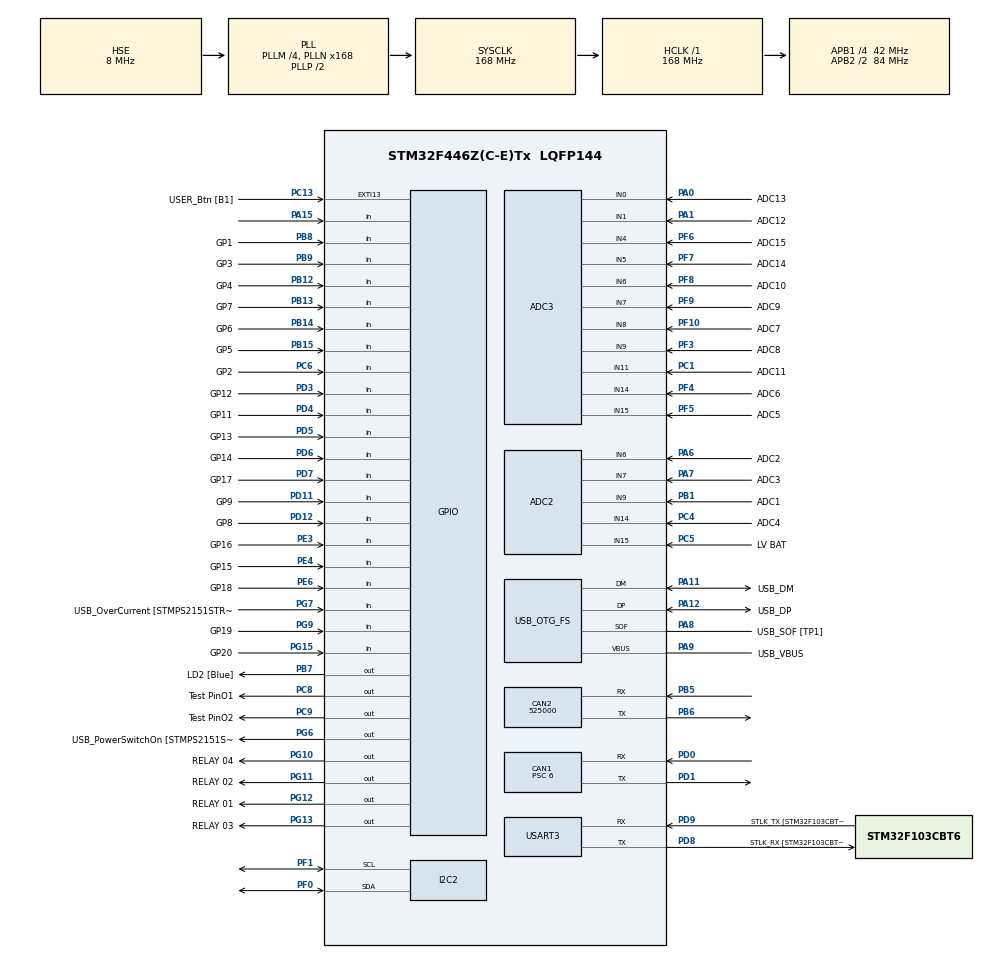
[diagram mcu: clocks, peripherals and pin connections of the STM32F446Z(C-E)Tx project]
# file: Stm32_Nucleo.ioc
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ADC2.Channel-0\#ChannelRegularConversion=ADC_CHANNEL_6
ADC2.NbrOfConversionFlag=1
ADC2.Rank-0\#ChannelRegularConversion=1
ADC2.SamplingTime-0\#ChannelRegularConversion=ADC_SAMPLETIME_3CYCLES
ADC3.Channel-0\#ChannelRegularConversion=ADC_CHANNEL_4
ADC3.NbrOfConversionFlag=1
CAN1.BS1=CAN_BS1_3TQ
CAN1.BS2=CAN_BS2_3TQ
CAN1.CalculateBaudRate=1000000
CAN1.CalculateTimeBit=1000
CAN1.CalculateTimeQuantum=142.85714285714286
CAN1.Prescaler=6
CAN2.BS1=CAN_BS1_2TQ
CAN2.BS2=CAN_BS2_2TQ
CAN2.CalculateBaudRate=525000
CAN2.CalculateTimeBit=1904
CAN2.CalculateTimeQuantum=380.95238095238096
Mcu.Family=STM32F4
Mcu.Name=STM32F446Z(C-E)Tx
Mcu.Package=LQFP144
NVIC.CAN1_RX0_IRQn=true\:0\:0\:false\:false\:true\:true\:true\:true
NVIC.PriorityGroup=NVIC_PRIORITYGROUP_4
PA0-WKUP.GPIO_Label=ADC13
PA0-WKUP.Signal=ADCx_IN0
PA1.GPIO_Label=ADC12
PA1.Signal=ADCx_IN1
PA10.GPIO_Label=USB_ID
PA10.Signal=USB_OTG_FS_ID
PA11.GPIO_Label=USB_DM
PA11.Mode=Device_Only
PA11.Signal=USB_OTG_FS_DM
PA12.GPIO_Label=USB_DP
PA12.Mode=Device_Only
PA12.Signal=USB_OTG_FS_DP
PA13.GPIO_Label=TMS
PA13.Mode=Serial_Wire
PA13.Signal=SYS_JTMS-SWDIO
PA14.GPIO_Label=TCK
PA14.Mode=Serial_Wire
PA14.Signal=SYS_JTCK-SWCLK
PA15.Signal=GPIO_Input
PA6.GPIO_Label=ADC2
PA6.Signal=ADCx_IN6
PA7.GPIO_Label=ADC3
PA7.Signal=ADCx_IN7
PA8.GPIO_Label=USB_SOF [TP1]
PA8.Mode=Activate_SOF_FS
PA8.Signal=USB_OTG_FS_SOF
PA9.GPIO_Label=USB_VBUS
PA9.Mode=Activate_VBUS
PA9.Signal=USB_OTG_FS_VBUS
PB1.GPIO_Label=ADC1
PB1.Signal=ADCx_IN9
PB12.GPIO_Label=GP4
PB12.Signal=GPIO_Input
PB13.GPIO_Label=GP7
PB13.Signal=GPIO_Input
PB14.GPIO_Label=GP6
PB14.Signal=GPIO_Input
PB15.GPIO_Label=GP5
PB15.Signal=GPIO_Input
PB5.Mode=CAN_Activate
PB5.Signal=CAN2_RX
PB6.Mode=CAN_Activate
PB6.Signal=CAN2_TX
PB7.GPIO_Label=LD2 [Blue]
PB7.Signal=GPIO_Output
PB8.GPIO_Label=GP1
PB8.Signal=GPIO_Input
PB9.GPIO_Label=GP3
PB9.Signal=GPIO_Input
PC1.GPIO_Label=ADC11
PC1.Signal=ADCx_IN11
PC13.GPIO_Label=USER_Btn [B1]
PC13.Signal=GPXTI13
PC14-OSC32_IN.Mode=LSE-External-Oscillator
PC14-OSC32_IN.Signal=RCC_OSC32_IN
PC15-OSC32_OUT.Mode=LSE-External-Oscillator
PC15-OSC32_OUT.Signal=RCC_OSC32_OUT
PC4.GPIO_Label=ADC4
PC4.Signal=ADCx_IN14
PC5.GPIO_Label=LV BAT 
PC5.Signal=ADCx_IN15
PC6.GPIO_Label=GP2
PC6.Signal=GPIO_Input
PC8.GPIO_Label=Test PinO1
PC8.Signal=GPIO_Output
PC9.GPIO_Label=Test PinO2
PC9.Signal=GPIO_Output
PD0.Mode=CAN_Activate
PD0.Signal=CAN1_RX
PD1.Mode=CAN_Activate
PD1.Signal=CAN1_TX
PD11.GPIO_Label=GP9
PD11.Signal=GPIO_Input
PD12.GPIO_Label=GP8
PD12.Signal=GPIO_Input
PD3.GPIO_Label=GP12
PD3.Signal=GPIO_Input
PD4.GPIO_Label=GP11
PD4.Signal=GPIO_Input
PD5.GPIO_Label=GP13
PD5.Signal=GPIO_Input
PD6.GPIO_Label=GP14
PD6.Signal=GPIO_Input
PD7.GPIO_Label=GP17
PD7.Signal=GPIO_Input
PD8.GPIO_Label=STLK_RX [STM32F103CBT6_PA3]
PD8.Mode=Asynchronous
PD8.Signal=USART3_TX
PD9.GPIO_Label=STLK_TX [STM32F103CBT6_PA2]
PD9.Mode=Asynchronous
PD9.Signal=USART3_RX
PE3.GPIO_Label=GP16
PE3.Signal=GPIO_Input
PE4.GPIO_Label=GP15
PE4.Signal=GPIO_Input
PE6.GPIO_Label=GP18
PE6.Signal=GPIO_Input
PF0.Mode=I2C
PF0.Signal=I2C2_SDA
PF1.Mode=I2C
PF1.Signal=I2C2_SCL
PF10.GPIO_Label=ADC7
PF10.Mode=IN8
PF10.Signal=ADC3_IN8
PF3.GPIO_Label=ADC8
PF3.Mode=IN9
PF3.Signal=ADC3_IN9
PF4.GPIO_Label=ADC6
PF4.Mode=IN14
PF4.Signal=ADC3_IN14
PF5.GPIO_Label=ADC5
PF5.Mode=IN15
PF5.Signal=ADC3_IN15
PF6.GPIO_Label=ADC15
PF6.Mode=IN4
PF6.Signal=ADC3_IN4
PF7.GPIO_Label=ADC14
PF7.Mode=IN5
PF7.Signal=ADC3_IN5
PF8.GPIO_Label=ADC10
PF8.Mode=IN6
PF8.Signal=ADC3_IN6
PF9.GPIO_Label=ADC9
PF9.Mode=IN7
PF9.Signal=ADC3_IN7
PG10.GPIO_Label=RELAY 04
PG10.Signal=GPIO_Output
PG11.GPIO_Label=RELAY 02
PG11.Signal=GPIO_Output
PG12.GPIO_Label=RELAY 01
PG12.Signal=GPIO_Output
PG13.GPIO_Label=RELAY 03
PG13.Signal=GPIO_Output
PG15.GPIO_Label=GP20
PG15.Signal=GPIO_Input
PG6.GPIO_Label=USB_PowerSwitchOn [STMPS2151STR_EN]
PG6.Signal=GPIO_Output
PG7.GPIO_Label=USB_OverCurrent [STMPS2151STR_FAULT]
PG7.Signal=GPIO_Input
PG9.GPIO_Label=GP19
PG9.Signal=GPIO_Input
PH0-OSC_IN.GPIO_Label=MCO [STM32F103CBT6_PA8]
PH0-OSC_IN.Mode=HSE-External-Clock-Source
PH0-OSC_IN.Signal=RCC_OSC_IN
PH1-OSC_OUT.Mode=HSE-External-Clock-Source
PH1-OSC_OUT.Signal=RCC_OSC_OUT
ProjectManager.HeapSize=0x200
ProjectManager.StackSize=0x400
ProjectManager.TargetToolchain=STM32CubeIDE
RCC.48MHZClocksFreq_Value=24000000
RCC.AHBFreq_Value=168000000
RCC.APB1CLKDivider=RCC_HCLK_DIV4
RCC.APB1Freq_Value=42000000
RCC.APB1TimFreq_Value=84000000
RCC.APB2CLKDivider=RCC_HCLK_DIV2
RCC.APB2Freq_Value=84000000
RCC.APB2TimFreq_Value=168000000
RCC.CortexFreq_Value=168000000
RCC.HCLKFreq_Value=168000000
RCC.HSE_VALUE=8000000
RCC.HSI_VALUE=16000000
RCC.PLLM=4
RCC.PLLMUL=RCC_PLL_MUL9
RCC.PLLN=168
RCC.PLLQ=7
RCC.PRESCALERUSB=RCC_USBCLKSOURCE_PLL_DIV1_5
RCC.SYSCLKFreq_VALUE=168000000
RCC.SYSCLKSource=RCC_SYSCLKSOURCE_PLLCLK
RCC.SYSCLKSourceVirtual=RCC_SYSCLKSOURCE_PLLCLK
RCC.USBFreq_Value=48000000
RCC.VCOOutputFreq_Value=336000000
SH.ADCx_IN0.0=ADC3_IN0,IN0
SH.ADCx_IN1.0=ADC3_IN1,IN1
SH.ADCx_IN11.0=ADC3_IN11,IN11
SH.ADCx_IN14.0=ADC2_IN14,IN14
SH.ADCx_IN15.0=ADC2_IN15,IN15
SH.ADCx_IN6.0=ADC2_IN6,IN6
SH.ADCx_IN7.0=ADC2_IN7,IN7
SH.ADCx_IN9.0=ADC2_IN9,IN9
USART3.VirtualMode=VM_ASYNC
USB_OTG_FS.VirtualMode=Device_Only
board=NUCLEO-F446ZE

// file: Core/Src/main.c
/* USER CODE BEGIN Header */
/**
  ******************************************************************************
  * @file           : main.c
  * @brief          : Main program body
  ******************************************************************************
  * @attention
  *
  * Copyright (c) 2024 STMicroelectronics.
  * All rights reserved.
  *
  * This software is licensed under terms that can be found in the LICENSE file
  * in the root directory of this software component.
  * If no LICENSE file comes with this software, it is provided AS-IS.
  *
  ******************************************************************************
  */
/* USER CODE END Header */
#include "main.h"

/* USER CODE BEGIN Includes */
#include <string.h>
#include <stdio.h>
#include <time.h>
/* USER CODE END Includes */

ADC_HandleTypeDef hadc2;
ADC_HandleTypeDef hadc3;

CAN_HandleTypeDef hcan1;
CAN_HandleTypeDef hcan2;

I2C_HandleTypeDef hi2c2;

UART_HandleTypeDef huart3;

PCD_HandleTypeDef hpcd_USB_OTG_FS;

/* USER CODE BEGIN PV */
//static const uint8_t Sensor_ADDR = 0x48 << 1; // Use 8-bit address, Left shift for making space of the Read/Write Bit (Might need to change base on the I2C Device.
//static const uint8_t REG_TEMP = 0x00; //Address Temp register (Base on device)

/* USER CODE END PV */

void SystemClock_Config(void);
static void MX_GPIO_Init(void);
static void MX_USART3_UART_Init(void);
static void MX_USB_OTG_FS_PCD_Init(void);
static void MX_CAN1_Init(void);
static void MX_ADC2_Init(void);
static void MX_ADC3_Init(void);
static void MX_I2C2_Init(void);
static void MX_CAN2_Init(void);
/* USER CODE BEGIN PFP */
int _write(int file, char *ptr, int len)
{
  /* Implement your write code here. This is
     used by puts and printf for example */
  int i=0;
  for(i=0 ; i<len ; i++)
    ITM_SendChar((*ptr++));
  return len;
}
/* USER CODE END PFP */

/* USER CODE BEGIN 0 */

int test = 0;
CAN_TxHeaderTypeDef TxHeader;
CAN_RxHeaderTypeDef RxHeader;

uint8_t TxData[8];
uint8_t RxData[32];

uint32_t TxMailbox[3];
uint8_t count = 0;

void HAL_CAN_RxFifo0MsgPendingCallback(CAN_HandleTypeDef *hcan){
	if(HAL_CAN_GetRxMessage(&hcan1, CAN_RX_FIFO0, &RxHeader,RxData) != HAL_OK){
		printf("Error Rev \n");
	}
	if ((RxHeader.StdId == 0x701)){
		test = 1;
	}
}

/* USER CODE END 0 */

int main(void)
{

  /* USER CODE BEGIN 1 */
	//HAL_StatusTypeDef ret; //return value
	//uint8_t buf[32];
	//int16_t val;     //raw Temp Data
	//float temp_c;
	//printf("Hello Main \n");
  /* USER CODE END 1 */

  /* MCU Configuration--------------------------------------------------------*/

  /* Reset of all peripherals, Initializes the Flash interface and the Systick. */
  HAL_Init();

  /* Configure the system clock */
  SystemClock_Config();

  /* Initialize all configured peripherals */
  MX_GPIO_Init();
  MX_USART3_UART_Init();
  MX_USB_OTG_FS_PCD_Init();
  MX_CAN1_Init();
  MX_ADC2_Init();
  MX_ADC3_Init();
  MX_I2C2_Init();
  MX_CAN2_Init();
  /* USER CODE BEGIN 2 */
  HAL_CAN_Start(&hcan1);

  // Activation of notification
  if(HAL_CAN_ActivateNotification(&hcan1, CAN_IT_RX_FIFO0_MSG_PENDING) != HAL_OK){
	  printf("Error REC \n");
  }

  TxHeader.DLC = 2; //Length of Data we going to send
  TxHeader.ExtId = 0; // Basic Protocol keep 0
  TxHeader.IDE = CAN_ID_STD; //Use Standard instead of Extended ID
  TxHeader.RTR = CAN_RTR_DATA; //sending Data
  TxHeader.StdId = 0x00; // Sent to ID 00 = NMT Command/ Start up procedure
  TxHeader.TransmitGlobalTime = DISABLE;

  TxData[0] = 0x05; // Write Operational mode

  /*if (HAL_CAN_AddTxMessage(&hcan1, &TxHeader, &TxData[0], &TxMailbox[0]) != HAL_OK){
	  Error_Handler();
  }
*/

  /* USER CODE END 2 */

  /* Infinite loop */
  /* USER CODE BEGIN WHILE */
  while (1)
  {

	  if(test == 1){
		  printf("received \n");
	  }
	  else{
		  printf("Empty \n");
	  }
    /* USER CODE END WHILE */
	 //printf("Printf Test \n\r");
	 //printf(" ** Test Complete ** \n\r");
	 //for (int i = 0; i < sizeof(RxData); i++) {
	 //	  printf("%i",RxData[i]);
	 //	}
	  }
}

void SystemClock_Config(void)
{
  RCC_OscInitTypeDef RCC_OscInitStruct = {0};
  RCC_ClkInitTypeDef RCC_ClkInitStruct = {0};

  /** Configure the main internal regulator output voltage
  */
  __HAL_RCC_PWR_CLK_ENABLE();
  __HAL_PWR_VOLTAGESCALING_CONFIG(PWR_REGULATOR_VOLTAGE_SCALE1);

  /** Initializes the RCC Oscillators according to the specified parameters
  * in the RCC_OscInitTypeDef structure.
  */
  RCC_OscInitStruct.OscillatorType = RCC_OSCILLATORTYPE_HSE;
  RCC_OscInitStruct.HSEState = RCC_HSE_BYPASS;
  RCC_OscInitStruct.PLL.PLLState = RCC_PLL_ON;
  RCC_OscInitStruct.PLL.PLLSource = RCC_PLLSOURCE_HSE;
  RCC_OscInitStruct.PLL.PLLM = 4;
  RCC_OscInitStruct.PLL.PLLN = 168;
  RCC_OscInitStruct.PLL.PLLP = RCC_PLLP_DIV2;
  RCC_OscInitStruct.PLL.PLLQ = 7;
  RCC_OscInitStruct.PLL.PLLR = 2;
  if (HAL_RCC_OscConfig(&RCC_OscInitStruct) != HAL_OK)
  {
    Error_Handler();
  }

  /** Initializes the CPU, AHB and APB buses clocks
  */
  RCC_ClkInitStruct.ClockType = RCC_CLOCKTYPE_HCLK|RCC_CLOCKTYPE_SYSCLK
                              |RCC_CLOCKTYPE_PCLK1|RCC_CLOCKTYPE_PCLK2;
  RCC_ClkInitStruct.SYSCLKSource = RCC_SYSCLKSOURCE_PLLCLK;
  RCC_ClkInitStruct.AHBCLKDivider = RCC_SYSCLK_DIV1;
  RCC_ClkInitStruct.APB1CLKDivider = RCC_HCLK_DIV4;
  RCC_ClkInitStruct.APB2CLKDivider = RCC_HCLK_DIV2;

  if (HAL_RCC_ClockConfig(&RCC_ClkInitStruct, FLASH_LATENCY_5) != HAL_OK)
  {
    Error_Handler();
  }
}

static void MX_ADC2_Init(void)
{

  ADC_ChannelConfTypeDef sConfig = {0};

  /** Configure the global features of the ADC (Clock, Resolution, Data Alignment and number of conversion)
  */
  hadc2.Instance = ADC2;
  hadc2.Init.ClockPrescaler = ADC_CLOCK_SYNC_PCLK_DIV4;
  hadc2.Init.Resolution = ADC_RESOLUTION_12B;
  hadc2.Init.ScanConvMode = DISABLE;
  hadc2.Init.ContinuousConvMode = DISABLE;
  hadc2.Init.DiscontinuousConvMode = DISABLE;
  hadc2.Init.ExternalTrigConvEdge = ADC_EXTERNALTRIGCONVEDGE_NONE;
  hadc2.Init.ExternalTrigConv = ADC_SOFTWARE_START;
  hadc2.Init.DataAlign = ADC_DATAALIGN_RIGHT;
  hadc2.Init.NbrOfConversion = 1;
  hadc2.Init.DMAContinuousRequests = DISABLE;
  hadc2.Init.EOCSelection = ADC_EOC_SINGLE_CONV;
  if (HAL_ADC_Init(&hadc2) != HAL_OK)
  {
    Error_Handler();
  }

  /** Configure for the selected ADC regular channel its corresponding rank in the sequencer and its sample time.
  */
  sConfig.Channel = ADC_CHANNEL_6;
  sConfig.Rank = 1;
  sConfig.SamplingTime = ADC_SAMPLETIME_3CYCLES;
  if (HAL_ADC_ConfigChannel(&hadc2, &sConfig) != HAL_OK)
  {
    Error_Handler();
  }

}

static void MX_ADC3_Init(void)
{

  ADC_ChannelConfTypeDef sConfig = {0};

  /** Configure the global features of the ADC (Clock, Resolution, Data Alignment and number of conversion)
  */
  hadc3.Instance = ADC3;
  hadc3.Init.ClockPrescaler = ADC_CLOCK_SYNC_PCLK_DIV4;
  hadc3.Init.Resolution = ADC_RESOLUTION_12B;
  hadc3.Init.ScanConvMode = DISABLE;
  hadc3.Init.ContinuousConvMode = DISABLE;
  hadc3.Init.DiscontinuousConvMode = DISABLE;
  hadc3.Init.ExternalTrigConvEdge = ADC_EXTERNALTRIGCONVEDGE_NONE;
  hadc3.Init.ExternalTrigConv = ADC_SOFTWARE_START;
  hadc3.Init.DataAlign = ADC_DATAALIGN_RIGHT;
  hadc3.Init.NbrOfConversion = 1;
  hadc3.Init.DMAContinuousRequests = DISABLE;
  hadc3.Init.EOCSelection = ADC_EOC_SINGLE_CONV;
  if (HAL_ADC_Init(&hadc3) != HAL_OK)
  {
    Error_Handler();
  }

  /** Configure for the selected ADC regular channel its corresponding rank in the sequencer and its sample time.
  */
  sConfig.Channel = ADC_CHANNEL_4;
  sConfig.Rank = 1;
  sConfig.SamplingTime = ADC_SAMPLETIME_3CYCLES;
  if (HAL_ADC_ConfigChannel(&hadc3, &sConfig) != HAL_OK)
  {
    Error_Handler();
  }

}

static void MX_CAN1_Init(void)
{

  hcan1.Instance = CAN1;
  hcan1.Init.Prescaler = 6;
  hcan1.Init.Mode = CAN_MODE_NORMAL;
  hcan1.Init.SyncJumpWidth = CAN_SJW_1TQ;
  hcan1.Init.TimeSeg1 = CAN_BS1_3TQ;
  hcan1.Init.TimeSeg2 = CAN_BS2_3TQ;
  hcan1.Init.TimeTriggeredMode = DISABLE;
  hcan1.Init.AutoBusOff = DISABLE;
  hcan1.Init.AutoWakeUp = DISABLE;
  hcan1.Init.AutoRetransmission = DISABLE;
  hcan1.Init.ReceiveFifoLocked = DISABLE;
  hcan1.Init.TransmitFifoPriority = DISABLE;
  if (HAL_CAN_Init(&hcan1) != HAL_OK)
  {
    Error_Handler();
  }
  /* USER CODE BEGIN CAN1_Init 2 */

  CAN_FilterTypeDef canfilterconfig;

  canfilterconfig.FilterActivation = CAN_FILTER_ENABLE;
  canfilterconfig.FilterBank =10; //Specify which filter bank you wish to use from 0 to SlaveStartFilter Bank
  canfilterconfig.FilterFIFOAssignment = CAN_RX_FIFO0;
  canfilterconfig.FilterIdHigh = 0x0000; // we shift 5 here to exclude the extended ID just in case we receiving extended ID.
  canfilterconfig.FilterIdLow = 0x0000;
  canfilterconfig.FilterMaskIdHigh = 0x0000; // We pick what bit will be compare between the Incoming Id Vs This device ID
  canfilterconfig.FilterMaskIdLow = 0x0000;
  canfilterconfig.FilterMode = CAN_FILTERMODE_IDMASK; //2 type of filter here. Mask or Identity mode
  canfilterconfig.FilterScale = CAN_FILTERSCALE_32BIT; // Specify what kind of mask
  canfilterconfig.SlaveStartFilterBank = 13; //2 filter bank, you can chose how many filter for Can1<Master> and Can2<Slave>
  // If i put 13 here, that mean 13 filter out of 27 are allocated to Slave filter

  HAL_CAN_ConfigFilter(&hcan1,&canfilterconfig);

  /* USER CODE END CAN1_Init 2 */

}

static void MX_CAN2_Init(void)
{

  hcan2.Instance = CAN2;
  hcan2.Init.Prescaler = 16;
  hcan2.Init.Mode = CAN_MODE_NORMAL;
  hcan2.Init.SyncJumpWidth = CAN_SJW_1TQ;
  hcan2.Init.TimeSeg1 = CAN_BS1_2TQ;
  hcan2.Init.TimeSeg2 = CAN_BS2_2TQ;
  hcan2.Init.TimeTriggeredMode = DISABLE;
  hcan2.Init.AutoBusOff = DISABLE;
  hcan2.Init.AutoWakeUp = DISABLE;
  hcan2.Init.AutoRetransmission = DISABLE;
  hcan2.Init.ReceiveFifoLocked = DISABLE;
  hcan2.Init.TransmitFifoPriority = DISABLE;
  if (HAL_CAN_Init(&hcan2) != HAL_OK)
  {
    Error_Handler();
  }

}

static void MX_I2C2_Init(void)
{

  hi2c2.Instance = I2C2;
  hi2c2.Init.ClockSpeed = 100000;
  hi2c2.Init.DutyCycle = I2C_DUTYCYCLE_2;
  hi2c2.Init.OwnAddress1 = 0;
  hi2c2.Init.AddressingMode = I2C_ADDRESSINGMODE_7BIT;
  hi2c2.Init.DualAddressMode = I2C_DUALADDRESS_DISABLE;
  hi2c2.Init.OwnAddress2 = 0;
  hi2c2.Init.GeneralCallMode = I2C_GENERALCALL_DISABLE;
  hi2c2.Init.NoStretchMode = I2C_NOSTRETCH_DISABLE;
  if (HAL_I2C_Init(&hi2c2) != HAL_OK)
  {
    Error_Handler();
  }

}

static void MX_USART3_UART_Init(void)
{

  huart3.Instance = USART3;
  huart3.Init.BaudRate = 115200;
  huart3.Init.WordLength = UART_WORDLENGTH_8B;
  huart3.Init.StopBits = UART_STOPBITS_1;
  huart3.Init.Parity = UART_PARITY_NONE;
  huart3.Init.Mode = UART_MODE_TX_RX;
  huart3.Init.HwFlowCtl = UART_HWCONTROL_NONE;
  huart3.Init.OverSampling = UART_OVERSAMPLING_16;
  if (HAL_UART_Init(&huart3) != HAL_OK)
  {
    Error_Handler();
  }

}

static void MX_USB_OTG_FS_PCD_Init(void)
{

  hpcd_USB_OTG_FS.Instance = USB_OTG_FS;
  hpcd_USB_OTG_FS.Init.dev_endpoints = 6;
  hpcd_USB_OTG_FS.Init.speed = PCD_SPEED_FULL;
  hpcd_USB_OTG_FS.Init.dma_enable = DISABLE;
  hpcd_USB_OTG_FS.Init.phy_itface = PCD_PHY_EMBEDDED;
  hpcd_USB_OTG_FS.Init.Sof_enable = ENABLE;
  hpcd_USB_OTG_FS.Init.low_power_enable = DISABLE;
  hpcd_USB_OTG_FS.Init.lpm_enable = DISABLE;
  hpcd_USB_OTG_FS.Init.vbus_sensing_enable = ENABLE;
  hpcd_USB_OTG_FS.Init.use_dedicated_ep1 = DISABLE;
  if (HAL_PCD_Init(&hpcd_USB_OTG_FS) != HAL_OK)
  {
    Error_Handler();
  }

}

static void MX_GPIO_Init(void)
{
  GPIO_InitTypeDef GPIO_InitStruct = {0};

  /* GPIO Ports Clock Enable */
  __HAL_RCC_GPIOE_CLK_ENABLE();
  __HAL_RCC_GPIOC_CLK_ENABLE();
  __HAL_RCC_GPIOF_CLK_ENABLE();
  __HAL_RCC_GPIOH_CLK_ENABLE();
  __HAL_RCC_GPIOA_CLK_ENABLE();
  __HAL_RCC_GPIOB_CLK_ENABLE();
  __HAL_RCC_GPIOD_CLK_ENABLE();
  __HAL_RCC_GPIOG_CLK_ENABLE();

  /*Configure GPIO pin Output Level */
  HAL_GPIO_WritePin(GPIOG, USB_PowerSwitchOn_Pin|RELAY_04_Pin|RELAY_02_Pin|RELAY_01_Pin
                          |RELAY_03_Pin, GPIO_PIN_RESET);

  /*Configure GPIO pin Output Level */
  HAL_GPIO_WritePin(GPIOC, Test_PinO1_Pin|Test_PinO2_Pin, GPIO_PIN_RESET);

  /*Configure GPIO pin Output Level */
  HAL_GPIO_WritePin(LD2_GPIO_Port, LD2_Pin, GPIO_PIN_RESET);

  /*Configure GPIO pins : GP16_Pin GP15_Pin GP18_Pin */
  GPIO_InitStruct.Pin = GP16_Pin|GP15_Pin|GP18_Pin;
  GPIO_InitStruct.Mode = GPIO_MODE_INPUT;
  GPIO_InitStruct.Pull = GPIO_NOPULL;
  HAL_GPIO_Init(GPIOE, &GPIO_InitStruct);

  /*Configure GPIO pin : USER_Btn_Pin */
  GPIO_InitStruct.Pin = USER_Btn_Pin;
  GPIO_InitStruct.Mode = GPIO_MODE_IT_RISING;
  GPIO_InitStruct.Pull = GPIO_NOPULL;
  HAL_GPIO_Init(USER_Btn_GPIO_Port, &GPIO_InitStruct);

  /*Configure GPIO pins : GP4_Pin GP7_Pin GP6_Pin GP5_Pin
                           GP1_Pin GP3_Pin */
  GPIO_InitStruct.Pin = GP4_Pin|GP7_Pin|GP6_Pin|GP5_Pin
                          |GP1_Pin|GP3_Pin;
  GPIO_InitStruct.Mode = GPIO_MODE_INPUT;
  GPIO_InitStruct.Pull = GPIO_NOPULL;
  HAL_GPIO_Init(GPIOB, &GPIO_InitStruct);

  /*Configure GPIO pins : GP9_Pin GP8_Pin GP12_Pin GP11_Pin
                           GP13_Pin GP14_Pin GP17_Pin */
  GPIO_InitStruct.Pin = GP9_Pin|GP8_Pin|GP12_Pin|GP11_Pin
                          |GP13_Pin|GP14_Pin|GP17_Pin;
  GPIO_InitStruct.Mode = GPIO_MODE_INPUT;
  GPIO_InitStruct.Pull = GPIO_NOPULL;
  HAL_GPIO_Init(GPIOD, &GPIO_InitStruct);

  /*Configure GPIO pins : USB_PowerSwitchOn_Pin RELAY_04_Pin RELAY_02_Pin RELAY_01_Pin
                           RELAY_03_Pin */
  GPIO_InitStruct.Pin = USB_PowerSwitchOn_Pin|RELAY_04_Pin|RELAY_02_Pin|RELAY_01_Pin
                          |RELAY_03_Pin;
  GPIO_InitStruct.Mode = GPIO_MODE_OUTPUT_PP;
  GPIO_InitStruct.Pull = GPIO_NOPULL;
  GPIO_InitStruct.Speed = GPIO_SPEED_FREQ_LOW;
  HAL_GPIO_Init(GPIOG, &GPIO_InitStruct);

  /*Configure GPIO pins : USB_OverCurrent_Pin GP19_Pin GP20_Pin */
  GPIO_InitStruct.Pin = USB_OverCurrent_Pin|GP19_Pin|GP20_Pin;
  GPIO_InitStruct.Mode = GPIO_MODE_INPUT;
  GPIO_InitStruct.Pull = GPIO_NOPULL;
  HAL_GPIO_Init(GPIOG, &GPIO_InitStruct);

  /*Configure GPIO pin : GP2_Pin */
  GPIO_InitStruct.Pin = GP2_Pin;
  GPIO_InitStruct.Mode = GPIO_MODE_INPUT;
  GPIO_InitStruct.Pull = GPIO_NOPULL;
  HAL_GPIO_Init(GP2_GPIO_Port, &GPIO_InitStruct);

  /*Configure GPIO pins : Test_PinO1_Pin Test_PinO2_Pin */
  GPIO_InitStruct.Pin = Test_PinO1_Pin|Test_PinO2_Pin;
  GPIO_InitStruct.Mode = GPIO_MODE_OUTPUT_PP;
  GPIO_InitStruct.Pull = GPIO_NOPULL;
  GPIO_InitStruct.Speed = GPIO_SPEED_FREQ_LOW;
  HAL_GPIO_Init(GPIOC, &GPIO_InitStruct);

  /*Configure GPIO pin : PA15 */
  GPIO_InitStruct.Pin = GPIO_PIN_15;
  GPIO_InitStruct.Mode = GPIO_MODE_INPUT;
  GPIO_InitStruct.Pull = GPIO_NOPULL;
  HAL_GPIO_Init(GPIOA, &GPIO_InitStruct);

  /*Configure GPIO pin : LD2_Pin */
  GPIO_InitStruct.Pin = LD2_Pin;
  GPIO_InitStruct.Mode = GPIO_MODE_OUTPUT_PP;
  GPIO_InitStruct.Pull = GPIO_NOPULL;
  GPIO_InitStruct.Speed = GPIO_SPEED_FREQ_LOW;
  HAL_GPIO_Init(LD2_GPIO_Port, &GPIO_InitStruct);

}

void Error_Handler(void)
{
  __disable_irq();
  while (1)
  {
  }
}
